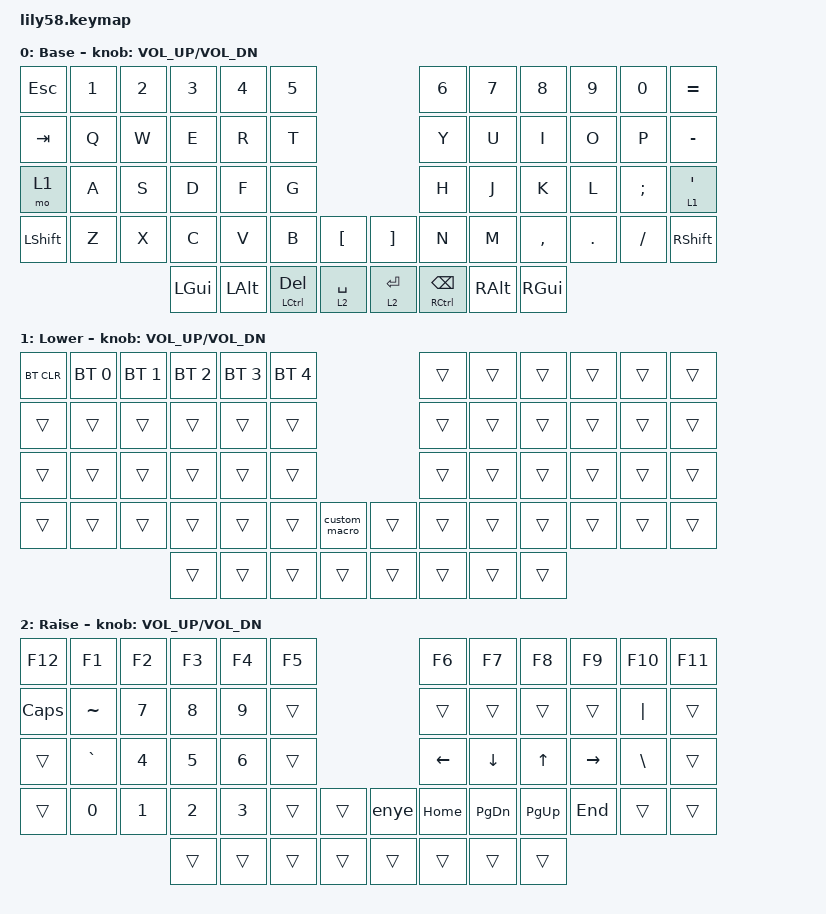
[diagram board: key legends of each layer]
/*
 * Copyright (c) 2020 The ZMK Contributors
 *
 * SPDX-License-Identifier: MIT
 */

#include <behaviors.dtsi>
#include <dt-bindings/zmk/bt.h>
#include <dt-bindings/zmk/keys.h>

/ {
    macros {
        custom_macro: custom_macro {
            compatible = "zmk,behavior-macro";
            #binding-cells = <0>;
            wait-ms = <180>;
            tap-ms = <30>;
            bindings
                = <&macro_tap &kp N8>
                , <&macro_tap &kp TAB>
                , <&macro_tap &kp N1>
                , <&macro_tap &kp N7>
                , <&macro_tap &kp TAB>
                , <&macro_tap &kp TAB>
                , <&macro_tap &kp DOT>
                , <&macro_press &kp LSHFT>
                , <&macro_tap &kp TAB>
                , <&macro_tap &kp TAB>
                , <&macro_tap &kp TAB>
                , <&macro_tap &kp TAB>
                , <&macro_release &kp LSHFT>
                , <&macro_tap &kp ENTER>
                ;
        };

        // Unicode input (Linux GTK/IBus): Ctrl+Shift+U, hex code, Space
        enye_lower: enye_lower {
            compatible = "zmk,behavior-macro";
            #binding-cells = <0>;
            wait-ms = <30>;
            tap-ms = <30>;
            bindings
                = <&macro_press &kp LCTRL &kp LSHFT>
                , <&macro_tap &kp U>
                , <&macro_release &kp LCTRL &kp LSHFT>
                , <&macro_tap &kp F &kp N1 &kp SPACE>
                ;
        };

        enye_upper: enye_upper {
            compatible = "zmk,behavior-macro";
            #binding-cells = <0>;
            wait-ms = <30>;
            tap-ms = <30>;
            bindings
                = <&macro_press &kp LCTRL &kp LSHFT>
                , <&macro_tap &kp U>
                , <&macro_release &kp LCTRL &kp LSHFT>
                , <&macro_tap &kp D &kp N1 &kp SPACE>
                ;
        };
    };

    behaviors {
        mo_kp: mo_kp {
            compatible = "zmk,behavior-hold-tap";
            #binding-cells = <2>;
            tapping-term-ms = <280>;
            quick-tap-ms = <100>;
            require-prior-idle-ms = <250>;
            flavor = "hold-preferred";
            bindings = <&mo>, <&kp>;
        };

        // Space and Enter: tap unless another key is tapped while held
        mo_kp_bal: mo_kp_bal {
            compatible = "zmk,behavior-hold-tap";
            #binding-cells = <2>;
            tapping-term-ms = <280>;
            quick-tap-ms = <100>;
            flavor = "balanced";
            bindings = <&mo>, <&kp>;
        };

        kp_kp: kp_kp {
            compatible = "zmk,behavior-hold-tap";
            #binding-cells = <2>;
            tapping-term-ms = <280>;
            quick-tap-ms = <100>;
            require-prior-idle-ms = <250>;
            flavor = "hold-preferred";
            bindings = <&kp>, <&kp>;
        };

        // ñ, or Ñ with Shift held
        enye: enye {
            compatible = "zmk,behavior-mod-morph";
            #binding-cells = <0>;
            bindings = <&enye_lower>, <&enye_upper>;
            mods = <(MOD_LSFT|MOD_RSFT)>;
        };
    };

    keymap {
        compatible = "zmk,keymap";

        default_layer {
            // ----------------------------------------------------------------------------------------------------------------------
            // |  ESC  |  1  |  2  |  3   |  4   |  5   |                             |  6   |  7    |  8    |  9   |   0   |   =   |
            // |  TAB  |  Q  |  W  |  E   |  R   |  T   |                             |  Y   |  U    |  I    |  O   |   P   |   -   |
            // | LOWER |  A  |  S  |  D   |  F   |  G   |                             |  H   |  J    |  K    |  L   |   ;   | LOWER (") |
            // | SHIFT |  Z  |  X  |  C   |  V   |  B   |   "["  |            |  "]"  |  N   |  M    |  ,    |  .   |   /   | SHIFT |
            //                     | GUI  | ALT  | CTRL |  SPACE |            | ENTER | BSPC | ALT   | GUI   |
            //                                            (RAISE)              (RAISE) (CTRL)
            display-name = "Base";
            bindings = <
&kp ESC    &kp N1  &kp N2  &kp N3    &kp N4    &kp N5                                             &kp N6             &kp N7    &kp N8     &kp N9   &kp N0    &kp EQUAL
&kp TAB    &kp Q   &kp W   &kp E     &kp R     &kp T                                              &kp Y              &kp U     &kp I      &kp O    &kp P     &kp MINUS
&mo 1      &kp A   &kp S   &kp D     &kp F     &kp G                                              &kp H              &kp J     &kp K      &kp L    &kp SEMI  &mo_kp 1 SQT
&kp LSHFT  &kp Z   &kp X   &kp C     &kp V     &kp B             &kp LBKT         &kp RBKT        &kp N              &kp M     &kp COMMA  &kp DOT  &kp FSLH  &kp RSHFT
                           &kp LGUI  &kp LALT  &kp_kp LCTRL DEL  &mo_kp_bal 2 SPACE  &mo_kp_bal 2 RET  &kp_kp RCTRL BSPC  &kp RALT  &kp RGUI
            >;

            sensor-bindings = <&inc_dec_kp C_VOL_UP C_VOL_DN>;
        };

        lower_layer {
            // ------------------------------------------------------------------------------------------------------------
            // | BTCLR | BT1 | BT2 |  BT3 |  BT4 |  BT5 |                   |      |       |       |      |       |       |
            // |       |     |     |      |      |      |                   |      |       |       |      |       |       |
            // |       |     |     |      |      |      |                   |      |       |       |      |       |       |
            // |       |     |     |      |      |      |  MACRO |  |       |      |       |       |      |       |       |
            //                     |      |      |      |        |  |       |      |       |       |

            display-name = "Lower";
            bindings = <
&bt BT_CLR  &bt BT_SEL 0  &bt BT_SEL 1  &bt BT_SEL 2  &bt BT_SEL 3  &bt BT_SEL 4                          &trans     &trans     &trans   &trans   &trans   &trans
&trans      &trans        &trans        &trans        &trans        &trans                                &trans     &trans     &trans   &trans   &trans   &trans
&trans      &trans        &trans        &trans        &trans        &trans                                &trans     &trans     &trans   &trans   &trans   &trans
&trans      &trans        &trans        &trans        &trans        &trans       &custom_macro    &trans  &trans     &trans     &trans   &trans   &trans   &trans
                                        &trans        &trans        &trans       &trans           &trans  &trans     &trans     &trans
            >;

            sensor-bindings = <&inc_dec_kp C_VOL_UP C_VOL_DN>;
        };

        raise_layer {
            // ------------------------------------------------------------------------------------------------------------
            // |  F12  | F1  | F2  | F3   | F4   |  F5  |                   |  F6   |   F7   |  F8    |   F9  |  F10  |  F11  |
            // | CAPS  |  ~  |  7  |  8   |  9   |      |                   |       |        |        |       |  "|"  |       |
            // |       |  `  |  4  |  5   |  6   |      |                   |  <-   |   v    |   ^    |   ->  |   \   |       |
            // |       |  0  |  1  |  2   |  3   |      |        |  |  ñ    | HOME  |  PGDN  |  PGUP  |  END  |       |       |
            //                     |      |      |      |        |  |       |       |        |        |

            display-name = "Raise";
            bindings = <
&kp F12    &kp F1     &kp F2  &kp F3   &kp F4   &kp F5                     &kp F6     &kp F7     &kp F8     &kp F9     &kp F10        &kp F11
&kp CAPS   &kp TILDE  &kp N7  &kp N8   &kp N9   &trans                     &trans     &trans     &trans     &trans     &kp PIPE       &trans
&trans     &kp GRAVE  &kp N4  &kp N5   &kp N6   &trans                     &kp LEFT   &kp DOWN   &kp UP     &kp RIGHT  &kp BACKSLASH  &trans
&trans     &kp N0     &kp N1  &kp N2   &kp N3   &trans   &trans    &enye   &kp HOME   &kp PG_DN  &kp PG_UP  &kp END    &trans         &trans
                              &trans   &trans   &trans   &trans    &trans  &trans     &trans     &trans
            >;

            sensor-bindings = <&inc_dec_kp C_VOL_UP C_VOL_DN>;
        };

        extra_1 { status = "reserved"; };

        extra_2 { status = "reserved"; };

        extra_3 { status = "reserved"; };
    };
};
